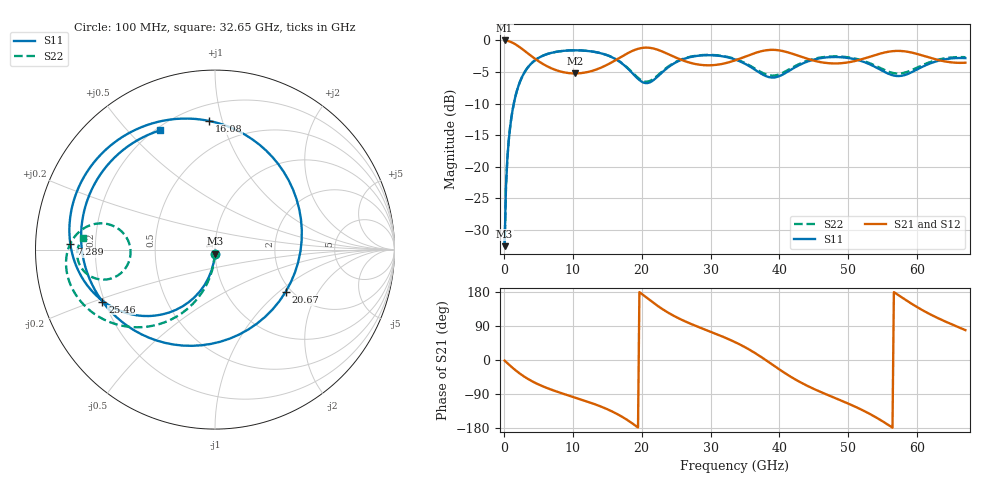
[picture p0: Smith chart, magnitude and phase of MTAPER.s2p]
! Touchstone Ver. 1.0
! Number of ports is 2
# Hz  S RI  R  50
! SCATTERING PARAMETERS  :
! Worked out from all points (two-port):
!   336 points, 100 MHz to 67 GHz, reference 50 ohm
!   highest |S21| = 0.00 dB at 100 MHz (marker M1); lowest = -5.2 dB at 10.28 GHz (marker M2)
!   |S21| within 3 dB of the highest: 33.97 GHz to 44.33 GHz (10.37 GHz wide, 26.5 % of centre); 51.87 GHz to 62.7 GHz (10.82 GHz wide, 18.9 % of centre)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
!   lowest |S11| = -32.6 dB at 100 MHz (marker M3), VSWR 1.05, Z = 49.9 - j2.33 ohm
!   |S11| at or under -10 dB: start of sweep to 1.44 GHz
!   |S22| runs from -32.6 to -1.6 dB; largest |S21 - S12| = 0
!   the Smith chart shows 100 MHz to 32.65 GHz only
!   S11 on the Smith chart (normalised r, x): 100 MHz: 1.00, -0.05; 7.289 GHz: 0.11, +0.02; 16.08 GHz: 0.31, +0.91; 20.67 GHz: 1.86, -1.11; 25.46 GHz: 0.19, -0.21; 32.65 GHz: 0.22, +0.62
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1e8  -0.000815 -0.0234  0.9992 -0.0294  0.9992 -0.0294  -0.000699 -0.0234
4.99403e8  -0.0187 -0.1145  0.9823 -0.1445  0.9823 -0.1445  -0.0158 -0.1149
1.697612e9  -0.1819 -0.3169  0.8265 -0.4258  0.8265 -0.4258  -0.1545 -0.3311
7.289254e9  -0.8059 0.0308  0.0929 -0.5817  0.0929 -0.5817  -0.7575 -0.2768
1.028478e10  -0.7504 0.3665  -0.0844 -0.5411  -0.0844 -0.5411  -0.8269 -0.1181
1.128328e10  -0.688 0.4687  -0.1402 -0.5334  -0.1402 -0.5334  -0.8299 -0.0681
1.607612e10  -0.0317 0.7168  -0.5221 -0.4526  -0.5221 -0.4526  -0.7082 0.1306
2.066925e10  0.393 -0.2366  -0.848 0.2252  -0.848 0.2252  -0.4705 -0.0105
2.246657e10  -0.0241 -0.5258  -0.6514 0.5281  -0.6514 0.5281  -0.5211 -0.1284
2.546209e10  -0.6274 -0.2892  -0.2337 0.673  -0.2337 0.673  -0.679 -0.1558
2.885701e10  -0.7191 0.2515  0.0815 0.6329  0.0815 0.6329  -0.7638 -0.0578
3.265134e10  -0.3048 0.6647  0.3877 0.5475  0.3877 0.5475  -0.7338 0.0649
3.364985e10  -0.1244 0.6931  0.4817 0.505  0.4817 0.505  -0.7051 0.0883
3.844269e10  0.5068 -0.0771  0.8361 -0.0805  0.8361 -0.0805  -0.5297 0.0195
4.143821e10  -0.052 -0.5733  0.5936 -0.5336  0.5936 -0.5336  -0.5815 -0.107
4.483313e10  -0.653 -0.2558  0.1806 -0.6714  0.1806 -0.6714  -0.7042 -0.0997
4.802836e10  -0.6879 0.2701  -0.1139 -0.647  -0.1139 -0.647  -0.7471 -0.0165
5.162299e10  -0.2305 0.6541  -0.4368 -0.549  -0.4368 -0.549  -0.7002 0.0739
5.601642e10  0.5148 0.1601  -0.8121 -0.0886  -0.8121 -0.0886  -0.5595 0.0418
6.060955e10  -0.1503 -0.594  -0.5218 0.558  -0.5218 0.558  -0.6235 -0.1024
6.380478e10  -0.6563 -0.257  -0.1643 0.6654  -0.1643 0.6654  -0.7147 -0.0712
6.7e10  -0.6732 0.2674  0.1292 0.6533  0.1292 0.6533  -0.7364 0.00992
